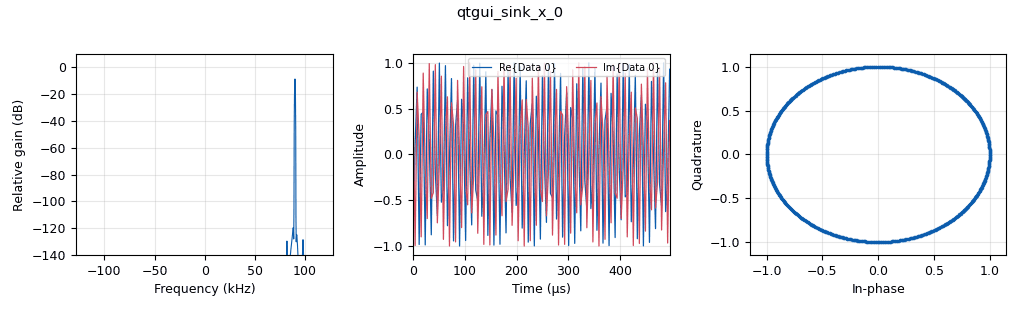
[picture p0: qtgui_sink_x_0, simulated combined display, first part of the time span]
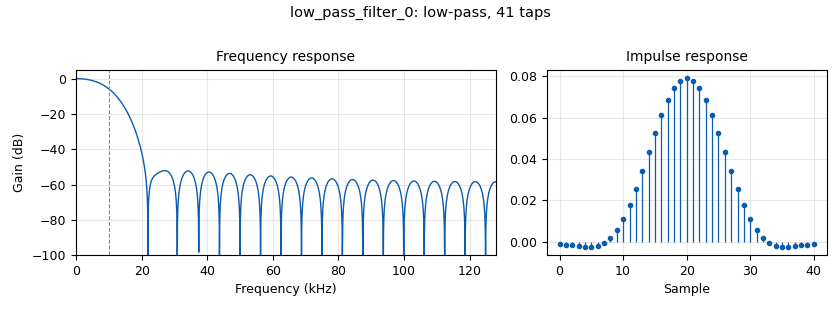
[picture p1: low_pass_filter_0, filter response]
options:
  parameters:
    author: M Dzakwan Falih
    description: HF Reciver
    generate_options: qt_gui
    id: hfreiver
    output_language: python
    title: HF Receiver
  states: {}

blocks:
- name: cent_freq
  id: variable
  parameters:
    value: '100954000'
  states: {}
- name: decimation
  id: variable
  parameters:
    value: '8'
  states: {}
- name: samp_rate
  id: variable
  parameters:
    value: '256000'
  states: {}
- name: transition_bw
  id: variable
  parameters:
    value: '6000'
  states: {}
- name: analog_agc2_xx_0
  id: analog_agc2_xx
  parameters:
    attack_rate: '1e-1'
    decay_rate: '1e-2'
    gain: '1.0'
    max_gain: '65536'
    reference: '1.0'
    type: complex
  states: {}
- name: analog_sig_source_x_0
  id: analog_sig_source_x
  parameters:
    amp: '1'
    freq: cent_freq
    offset: '0'
    phase: '0'
    samp_rate: samp_rate
    type: complex
    waveform: analog.GR_COS_WAVE
  states: {}
- name: audio_sink_0
  id: audio_sink
  parameters:
    samp_rate: samp_rate
  states: {}
- name: blocks_complex_to_mag_0
  id: blocks_complex_to_mag
  parameters: {}
  states: {}
- name: blocks_file_sink_0
  id: blocks_file_sink
  parameters:
    type: float
  states: {}
- name: blocks_multiply_const_vxx_0
  id: blocks_multiply_const_vxx
  parameters:
    const: '1'
    type: float
  states: {}
- name: dc_blocker_xx_0
  id: dc_blocker_xx
  parameters:
    length: '32'
    long_form: 'True'
    type: ff
  states: {}
- name: freq_xlating_fft_filter_ccc_0
  id: freq_xlating_fft_filter_ccc
  parameters:
    center_freq: '0'
    decim: '1'
    samp_rate: samp_rate
  states: {}
- name: low_pass_filter_0
  id: low_pass_filter
  parameters:
    cutoff_freq: '10000'
    decim: '1'
    gain: '1'
    samp_rate: samp_rate
    type: fir_filter_ccf
    width: '15000'
    win: firdes.WIN_HAMMING
  states: {}
- name: qtgui_sink_x_0
  id: qtgui_sink_x
  parameters:
    bw: samp_rate
    fc: '0'
    fftsize: '1024'
    type: complex
    wintype: firdes.WIN_BLACKMAN_hARRIS
  states: {}

connections:
- [analog_agc2_xx_0, '0', blocks_complex_to_mag_0, '0']
- [analog_sig_source_x_0, '0', freq_xlating_fft_filter_ccc_0, '0']
- [analog_sig_source_x_0, '0', qtgui_sink_x_0, '0']
- [blocks_complex_to_mag_0, '0', dc_blocker_xx_0, '0']
- [blocks_multiply_const_vxx_0, '0', audio_sink_0, '0']
- [blocks_multiply_const_vxx_0, '0', blocks_file_sink_0, '0']
- [dc_blocker_xx_0, '0', blocks_multiply_const_vxx_0, '0']
- [freq_xlating_fft_filter_ccc_0, '0', low_pass_filter_0, '0']
- [low_pass_filter_0, '0', analog_agc2_xx_0, '0']

metadata:
  file_format: 1
